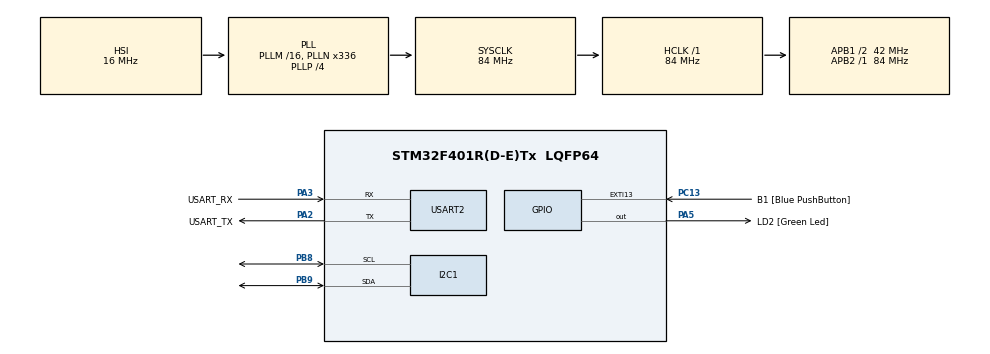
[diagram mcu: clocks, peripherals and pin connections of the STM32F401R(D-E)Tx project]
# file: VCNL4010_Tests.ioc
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Mcu.Family=STM32F4
PC15-OSC32_OUT.Mode=LSE-External-Oscillator
PA2.GPIO_PuPd=GPIO_NOPULL
RCC.CortexFreq_Value=84000000
PC13-ANTI_TAMP.GPIO_PuPd=GPIO_NOPULL
PC13-ANTI_TAMP.GPIO_Label=B1 [Blue PushButton]
PA14.GPIO_Label=TCK
PA3.GPIO_PuPd=GPIO_NOPULL
PH1\ -\ OSC_OUT.Mode=HSE-External-Clock-Source
PA2.GPIO_Speed=GPIO_SPEED_FREQ_LOW
RCC.APB1CLKDivider=RCC_HCLK_DIV2
PC14-OSC32_IN.Signal=RCC_OSC32_IN
PA3.GPIO_Speed=GPIO_SPEED_FREQ_LOW
RCC.SYSCLKSource=RCC_SYSCLKSOURCE_PLLCLK
ProjectManager.StackSize=0x400
PA13.Signal=SYS_JTMS-SWDIO
PA3.Mode=Asynchronous
PH0\ -\ OSC_IN.Mode=HSE-External-Clock-Source
PH0\ -\ OSC_IN.Signal=RCC_OSC_IN
ProjectManager.TargetToolchain=STM32CubeIDE
PA3.GPIO_Mode=GPIO_MODE_AF_PP
RCC.HCLKFreq_Value=84000000
PB9.Mode=I2C
RCC.APB2TimFreq_Value=84000000
PC15-OSC32_OUT.Signal=RCC_OSC32_OUT
RCC.AHBFreq_Value=84000000
PA5.Signal=GPIO_Output
RCC.HSE_VALUE=8000000
PH1\ -\ OSC_OUT.Signal=RCC_OSC_OUT
board=NUCLEO-F401RE
PC13-ANTI_TAMP.Signal=GPXTI13
RCC.VCOOutputFreq_Value=336000000
RCC.APB2Freq_Value=84000000
PC14-OSC32_IN.Mode=LSE-External-Oscillator
PA14.Mode=Serial_Wire
PA5.GPIO_PuPd=GPIO_NOPULL
PA13.Mode=Serial_Wire
Mcu.Name=STM32F401R(D-E)Tx
PA2.Signal=USART2_TX
PA13.GPIO_Label=TMS
RCC.48MHZClocksFreq_Value=48000000
PB3.Signal=SYS_JTDO-SWO
RCC.SYSCLKFreq_VALUE=84000000
Mcu.Package=LQFP64
PB9.Signal=I2C1_SDA
PA5.GPIO_Label=LD2 [Green Led]
USART2.VirtualMode=VM_ASYNC
PC13-ANTI_TAMP.GPIO_ModeDefaultEXTI=GPIO_MODE_IT_FALLING
PA2.GPIO_Label=USART_TX
PA14.Signal=SYS_JTCK-SWCLK
ProjectManager.HeapSize=0x200
RCC.HSI_VALUE=16000000
RCC.PLLP=RCC_PLLP_DIV4
PA5.GPIO_Speed=GPIO_SPEED_FREQ_LOW
RCC.PLLQ=7
NVIC.PriorityGroup=NVIC_PRIORITYGROUP_0
PB8.Mode=I2C
RCC.PLLN=336
RCC.APB1TimFreq_Value=84000000
PA2.Mode=Asynchronous
PB8.Signal=I2C1_SCL
RCC.APB1Freq_Value=42000000
PA5.GPIO_Mode=GPIO_MODE_OUTPUT_PP
PA3.GPIO_Label=USART_RX
PA3.Signal=USART2_RX
PA2.GPIO_Mode=GPIO_MODE_AF_PP
PB3.GPIO_Label=SWO

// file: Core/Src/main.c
/* USER CODE BEGIN Header */
/**
  ******************************************************************************
  * @file           : main.c
  * @brief          : Main program body
  ******************************************************************************
  * @attention
  *
  * <h2><center>&copy; Copyright (c) 2021 STMicroelectronics.
  * All rights reserved.</center></h2>
  *
  * This software component is licensed by ST under BSD 3-Clause license,
  * the "License"; You may not use this file except in compliance with the
  * License. You may obtain a copy of the License at:
  *                        opensource.org/licenses/BSD-3-Clause
  *
  ******************************************************************************
  */
/* USER CODE END Header */
#include "main.h"

/* USER CODE BEGIN Includes */
#include <string.h>
#include <stdio.h>
/* USER CODE END Includes */

I2C_HandleTypeDef hi2c1;

UART_HandleTypeDef huart2;

/* USER CODE BEGIN PV */
static const int TMP102_ADDR = 0x2A;
static const uint8_t REG_TEMP = 0x00;
int count =0;
/* USER CODE END PV */

void SystemClock_Config(void);
static void MX_GPIO_Init(void);
static void MX_USART2_UART_Init(void);
static void MX_I2C1_Init(void);

int main(void)
{
  /* USER CODE BEGIN 1 */
	HAL_StatusTypeDef ret;
	int16_t val;
	uint8_t buf[24];
	float temp_c;

  /* USER CODE END 1 */

  /* MCU Configuration--------------------------------------------------------*/

  /* Reset of all peripherals, Initializes the Flash interface and the Systick. */
  HAL_Init();

  /* Configure the system clock */
  SystemClock_Config();

  /* Initialize all configured peripherals */
  MX_GPIO_Init();
  MX_USART2_UART_Init();
  MX_I2C1_Init();

  /* Infinite loop */
  /* USER CODE BEGIN WHILE */
  while (1)
  {

	  count++;
	  // Tell TMP102 that we want to read from the temperature register
	  buf[0] = REG_TEMP;
	  ret = HAL_I2C_Master_Transmit(&hi2c1, TMP102_ADDR, buf, 1, HAL_MAX_DELAY);
	  if ( ret != HAL_OK ) {
		strcpy((char*)buf, "Error Tx\r\n");
//		sprintf((char*) buf,"b");
	  } else {

		// Read 2 bytes from the temperature register
		ret = HAL_I2C_Master_Receive(&hi2c1, TMP102_ADDR, buf, 2, HAL_MAX_DELAY);
		if ( ret != HAL_OK ) {
		  strcpy((char*)buf, "Error Rx\r\n");
		} else {

		  //Combine the bytes
		  val = ((int16_t)buf[0] << 4) | (buf[1] >> 4);

		  // Convert to 2's complement, since temperature can be negative
//		  if ( val > 0x7FF ) {
//			val |= 0xF000;
//		  }

		  // Convert to float temperature value (Celsius)
		  temp_c = val;  //* 0.0625;

		  // Convert temperature to decimal format
		  temp_c *= 100;
		  sprintf((char*)buf,
				"%u.%u C\r\n",
				((unsigned int)temp_c / 100),
				((unsigned int)temp_c % 100));
		   }
		 }

//	  if ( ret == HAL_OK ) {
//	  		strcpy((char*)buf, "HAl seems ok\r\n");
//	  		 }

//	  strcpy((char*)buf,"Hello!\r\n");
	  HAL_UART_Transmit(&huart2, buf, strlen((char*)buf),HAL_MAX_DELAY);
	  HAL_Delay(500);
    /* USER CODE END WHILE */

  }
}

void SystemClock_Config(void)
{
  RCC_OscInitTypeDef RCC_OscInitStruct = {0};
  RCC_ClkInitTypeDef RCC_ClkInitStruct = {0};

  /** Configure the main internal regulator output voltage
  */
  __HAL_RCC_PWR_CLK_ENABLE();
  __HAL_PWR_VOLTAGESCALING_CONFIG(PWR_REGULATOR_VOLTAGE_SCALE2);
  /** Initializes the RCC Oscillators according to the specified parameters
  * in the RCC_OscInitTypeDef structure.
  */
  RCC_OscInitStruct.OscillatorType = RCC_OSCILLATORTYPE_HSI;
  RCC_OscInitStruct.HSIState = RCC_HSI_ON;
  RCC_OscInitStruct.HSICalibrationValue = RCC_HSICALIBRATION_DEFAULT;
  RCC_OscInitStruct.PLL.PLLState = RCC_PLL_ON;
  RCC_OscInitStruct.PLL.PLLSource = RCC_PLLSOURCE_HSI;
  RCC_OscInitStruct.PLL.PLLM = 16;
  RCC_OscInitStruct.PLL.PLLN = 336;
  RCC_OscInitStruct.PLL.PLLP = RCC_PLLP_DIV4;
  RCC_OscInitStruct.PLL.PLLQ = 7;
  if (HAL_RCC_OscConfig(&RCC_OscInitStruct) != HAL_OK)
  {
    Error_Handler();
  }
  /** Initializes the CPU, AHB and APB buses clocks
  */
  RCC_ClkInitStruct.ClockType = RCC_CLOCKTYPE_HCLK|RCC_CLOCKTYPE_SYSCLK
                              |RCC_CLOCKTYPE_PCLK1|RCC_CLOCKTYPE_PCLK2;
  RCC_ClkInitStruct.SYSCLKSource = RCC_SYSCLKSOURCE_PLLCLK;
  RCC_ClkInitStruct.AHBCLKDivider = RCC_SYSCLK_DIV1;
  RCC_ClkInitStruct.APB1CLKDivider = RCC_HCLK_DIV2;
  RCC_ClkInitStruct.APB2CLKDivider = RCC_HCLK_DIV1;

  if (HAL_RCC_ClockConfig(&RCC_ClkInitStruct, FLASH_LATENCY_2) != HAL_OK)
  {
    Error_Handler();
  }
}

static void MX_I2C1_Init(void)
{

  hi2c1.Instance = I2C1;
  hi2c1.Init.ClockSpeed = 100000;
  hi2c1.Init.DutyCycle = I2C_DUTYCYCLE_2;
  hi2c1.Init.OwnAddress1 = 0;
  hi2c1.Init.AddressingMode = I2C_ADDRESSINGMODE_7BIT;
  hi2c1.Init.DualAddressMode = I2C_DUALADDRESS_DISABLE;
  hi2c1.Init.OwnAddress2 = 0;
  hi2c1.Init.GeneralCallMode = I2C_GENERALCALL_DISABLE;
  hi2c1.Init.NoStretchMode = I2C_NOSTRETCH_DISABLE;
  if (HAL_I2C_Init(&hi2c1) != HAL_OK)
  {
    Error_Handler();
  }

}

static void MX_USART2_UART_Init(void)
{

  huart2.Instance = USART2;
  huart2.Init.BaudRate = 115200;
  huart2.Init.WordLength = UART_WORDLENGTH_8B;
  huart2.Init.StopBits = UART_STOPBITS_1;
  huart2.Init.Parity = UART_PARITY_NONE;
  huart2.Init.Mode = UART_MODE_TX_RX;
  huart2.Init.HwFlowCtl = UART_HWCONTROL_NONE;
  huart2.Init.OverSampling = UART_OVERSAMPLING_16;
  if (HAL_UART_Init(&huart2) != HAL_OK)
  {
    Error_Handler();
  }

}

static void MX_GPIO_Init(void)
{
  GPIO_InitTypeDef GPIO_InitStruct = {0};

  /* GPIO Ports Clock Enable */
  __HAL_RCC_GPIOC_CLK_ENABLE();
  __HAL_RCC_GPIOH_CLK_ENABLE();
  __HAL_RCC_GPIOA_CLK_ENABLE();
  __HAL_RCC_GPIOB_CLK_ENABLE();

  /*Configure GPIO pin Output Level */
  HAL_GPIO_WritePin(LD2_GPIO_Port, LD2_Pin, GPIO_PIN_RESET);

  /*Configure GPIO pin : B1_Pin */
  GPIO_InitStruct.Pin = B1_Pin;
  GPIO_InitStruct.Mode = GPIO_MODE_IT_FALLING;
  GPIO_InitStruct.Pull = GPIO_NOPULL;
  HAL_GPIO_Init(B1_GPIO_Port, &GPIO_InitStruct);

  /*Configure GPIO pin : LD2_Pin */
  GPIO_InitStruct.Pin = LD2_Pin;
  GPIO_InitStruct.Mode = GPIO_MODE_OUTPUT_PP;
  GPIO_InitStruct.Pull = GPIO_NOPULL;
  GPIO_InitStruct.Speed = GPIO_SPEED_FREQ_LOW;
  HAL_GPIO_Init(LD2_GPIO_Port, &GPIO_InitStruct);

}

void Error_Handler(void)
{
  __disable_irq();
  while (1)
  {
  }
}

/************************ (C) COPYRIGHT STMicroelectronics *****END OF FILE****/
